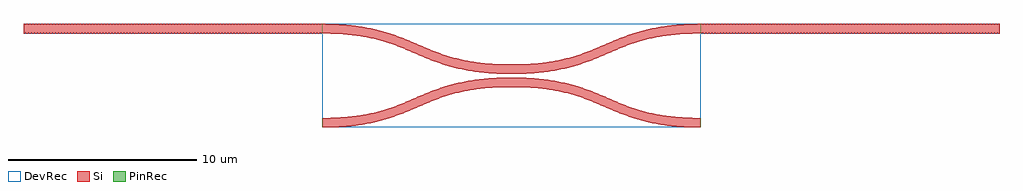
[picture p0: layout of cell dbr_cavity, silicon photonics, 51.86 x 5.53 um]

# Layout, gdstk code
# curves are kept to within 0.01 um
from math import pi, radians
import gdstk
lib = gdstk.Library(unit=1e-6, precision=1e-09)
def R(c, l, rs):  # rectangles x0, y0, x1, y1
    for r in rs: c.add(gdstk.rectangle(r[:2], r[2:], *l))
def P(c, l, *ps):  # polygons
    for p in ps: c.add(gdstk.Polygon(p, *l))
Si = (1, 0)
PinRec = (1, 10)
DevRec = (68, 0)

coupler_gap0p2_length0p1 = lib.new_cell('coupler_gap0p2_length0p1')
R(coupler_gap0p2_length0p1, Si, [(0,-0.25,0.1,0.25), (0,0.45,0.1,0.95)])
P(coupler_gap0p2_length0p1, Si, [(0,0.25),(-0.739,0.234),(-1.28,0.198),(-1.9,0.129),(-2.572,0.013),(-3.272,-0.159),(-3.9,-0.361),(-4.397,-0.55),(-6.106,-1.259),(-6.603,-1.431),(-7.14,-1.584),(-7.734,-1.713),(-8.399,-1.813),(-9.15,-1.877),(-10,-1.9),(-10,-2.4),(-9.261,-2.384),(-8.72,-2.348),(-8.1,-2.279),(-7.428,-2.163),(-6.728,-1.991),(-6.1,-1.789),(-5.603,-1.6),(-3.894,-0.891),(-3.397,-0.719),(-2.86,-0.566),(-2.266,-0.437),(-1.601,-0.337),(-0.85,-0.273),(0,-0.25)],
  [(0,0.45),(-0.739,0.466),(-1.28,0.502),(-1.9,0.571),(-2.572,0.687),(-3.272,0.859),(-3.9,1.061),(-4.397,1.25),(-6.106,1.959),(-6.603,2.131),(-7.14,2.284),(-7.734,2.413),(-8.399,2.513),(-9.15,2.577),(-10,2.6),(-10,3.1),(-9.261,3.084),(-8.72,3.048),(-8.1,2.979),(-7.428,2.863),(-6.728,2.691),(-6.1,2.489),(-5.603,2.3),(-3.894,1.591),(-3.397,1.419),(-2.86,1.266),(-2.266,1.137),(-1.601,1.037),(-0.85,0.973),(0,0.95)],
  [(0.1,0.45),(0.839,0.466),(1.38,0.502),(2,0.571),(2.672,0.687),(3.372,0.859),(4,1.061),(4.497,1.25),(6.206,1.959),(6.703,2.131),(7.24,2.284),(7.834,2.413),(8.499,2.513),(9.25,2.577),(10.1,2.6),(10.1,3.1),(9.361,3.084),(8.82,3.048),(8.2,2.979),(7.528,2.863),(6.828,2.691),(6.2,2.489),(5.703,2.3),(3.994,1.591),(3.497,1.419),(2.96,1.266),(2.366,1.137),(1.701,1.037),(0.95,0.973),(0.1,0.95)],
  [(0.1,0.25),(0.839,0.234),(1.38,0.198),(2,0.129),(2.672,0.013),(3.372,-0.159),(4,-0.361),(4.497,-0.55),(6.206,-1.259),(6.703,-1.431),(7.24,-1.584),(7.834,-1.713),(8.499,-1.813),(9.25,-1.877),(10.1,-1.9),(10.1,-2.4),(9.361,-2.384),(8.82,-2.348),(8.2,-2.279),(7.528,-2.163),(6.828,-1.991),(6.2,-1.789),(5.703,-1.6),(3.994,-0.891),(3.497,-0.719),(2.96,-0.566),(2.366,-0.437),(1.701,-0.337),(0.95,-0.273),(0.1,-0.25)])
R(coupler_gap0p2_length0p1, DevRec, [(-10,-2.4,10.1,3.1)])
coupler_gap0p2_length0p1.add(gdstk.FlexPath([(-9.995,-2.15),(-10.005,-2.15)], 0.5, ends="flush", simple_path=True, layer=1, datatype=10))  # PinRec
coupler_gap0p2_length0p1.add(gdstk.FlexPath([(-9.995,2.85),(-10.005,2.85)], 0.5, ends="flush", simple_path=True, layer=1, datatype=10))  # PinRec
coupler_gap0p2_length0p1.add(gdstk.FlexPath([(10.095,2.85),(10.105,2.85)], 0.5, ends="flush", simple_path=True, layer=1, datatype=10))  # PinRec
coupler_gap0p2_length0p1.add(gdstk.FlexPath([(10.095,-2.15),(10.105,-2.15)], 0.5, ends="flush", simple_path=True, layer=1, datatype=10))  # PinRec
coupler_gap0p2_length0p1.add(gdstk.Label('o1', (-10,-2.15), layer=1, texttype=10))
coupler_gap0p2_length0p1.add(gdstk.Label('o2', (-10,2.85), layer=1, texttype=10))
coupler_gap0p2_length0p1.add(gdstk.Label('o3', (10.1,2.85), layer=1, texttype=10))
coupler_gap0p2_length0p1.add(gdstk.Label('o4', (10.1,-2.15), layer=1, texttype=10))

straight_2d14dd39 = lib.new_cell('straight_2d14dd39')
R(straight_2d14dd39, Si, [(0,-0.25,0.079,0.25)])

straight_69f38322 = lib.new_cell('straight_69f38322')
R(straight_69f38322, Si, [(0,-0.225,0.079,0.225)])

straight_3665e31f = lib.new_cell('straight_3665e31f')
R(straight_3665e31f, Si, [(0,-0.275,0.079,0.275)])

dbr_cell_da3bb528 = lib.new_cell('dbr_cell_da3bb528')
dbr_cell_da3bb528.add(gdstk.Reference(straight_69f38322, (0,0)))
dbr_cell_da3bb528.add(gdstk.Reference(straight_3665e31f, (0.079,0)))

dbr_4c53b14a = lib.new_cell('dbr_4c53b14a')
r = gdstk.Reference(dbr_cell_da3bb528, (0,0)); r.repetition = gdstk.Repetition(100, 1, v1=(0.158,0), v2=(0,100)); dbr_4c53b14a.add(r)

dbr_8fdbfb26 = lib.new_cell('dbr_8fdbfb26')
R(dbr_8fdbfb26, DevRec, [(-0.079,-0.275,15.8,0.275)])
dbr_8fdbfb26.add(gdstk.FlexPath([(-0.078,0),(-0.08,0)], 0.5, ends="flush", simple_path=True, layer=1, datatype=10))  # PinRec
dbr_8fdbfb26.add(gdstk.Reference(straight_2d14dd39, (-0.079,0)))
dbr_8fdbfb26.add(gdstk.Reference(dbr_4c53b14a, (0,0)))
dbr_8fdbfb26.add(gdstk.Label('o1', (-0.079,0), layer=1, texttype=10))

dbr_cavity = lib.new_cell('dbr_cavity')
dbr_cavity.add(gdstk.Reference(coupler_gap0p2_length0p1, (0,0)))
dbr_cavity.add(gdstk.Reference(dbr_8fdbfb26, (-10.079,2.85), rotation=pi))
dbr_cavity.add(gdstk.Reference(dbr_8fdbfb26, (10.179,2.85)))

lib.write_gds('dbr_cavity.gds')
